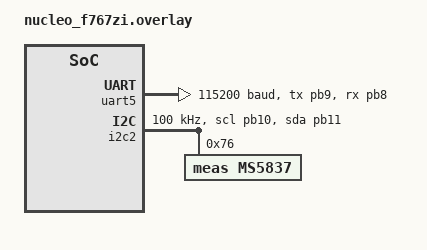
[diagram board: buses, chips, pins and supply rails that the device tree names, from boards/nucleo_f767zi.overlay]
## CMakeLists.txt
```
cmake_minimum_required(VERSION 3.24.3)
find_package(Zephyr REQUIRED HINTS $ENV{ZEPHYR_BASE})
project(maritime-testing)

# if you have an include directory, you can include it here
# target_include_directories(app PRIVATE include)

FILE(GLOB app_sources
     #src/main.c
     # src/uart_poll.c
     # `src/uart_dvl.c
     # src/pressure.c
     src/can_send.c
)

target_sources(app PRIVATE ${app_sources})
```

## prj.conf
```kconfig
CONFIG_UART_STM32=y

CONFIG_RING_BUFFER=y
CONFIG_POLL=y
CONFIG_ADC=y
CONFIG_UART_INTERRUPT_DRIVEN=y

CONFIG_NEWLIB_LIBC=y
CONFIG_NEWLIB_LIBC_FLOAT_PRINTF=y

CONFIG_LOG=y
CONFIG_CBPRINTF_FP_SUPPORT=y

CONFIG_I2C=y
CONFIG_SENSOR=y
CONFIG_CAN=y
```

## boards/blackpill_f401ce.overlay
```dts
/ {
    chosen {
        zephyr,console = &usart2;
        zephyr,shell-uart = &usart2;
    };
};

&usart2 {
    pinctrl-0 = <&usart2_tx_pa2 &usart2_rx_pa3>;
    pinctrl-names = "default";
    current-speed = <115200>;
    status = "okay";
};
```

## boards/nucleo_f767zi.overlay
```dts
/*
/ {
    chosen {
        zephyr,console = &uart5;
        zephyr,shell-uart = &uart5;
    };
};
*/

&uart5 {
    pinctrl-0 = <&uart5_tx_pb9 &uart5_rx_pb8>;
    pinctrl-names = "default";
    current-speed = <115200>;
    status = "okay";
};

&i2c1 {
    status = "disabled";
};

&i2c2 {
    pinctrl-0 = <&i2c2_scl_pb10 &i2c2_sda_pb11>;
    pinctrl-names = "default";
    status = "okay";
    clock-frequency = <I2C_BITRATE_STANDARD>;
    ms5837@76 {
        compatible = "meas,ms5837";
        reg = <0x76>;
    };
};


/*
can1 already enabled, alias zephyr,canbus = &can1;

&can1 {
	pinctrl-0 = <&can1_rx_pd0 &can1_tx_pd1>;
	pinctrl-names = "default";
	bus-speed = <125000>;
	status = "okay";
};
*/
```

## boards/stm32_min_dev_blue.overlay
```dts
/ {
    chosen {
        zephyr,canbus = &can;
    };
};

&can {
	pinctrl-0 = <&can_rx_pa11 &can_tx_pa12>;
	pinctrl-names = "default";
	bus-speed = <125000>;
	status = "okay";
};
```

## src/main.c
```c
/*
 * Copyright (c) 2016 Intel Corporation
 *
 * SPDX-License-Identifier: Apache-2.0
 */

#include <stdio.h>
#include <string.h>
#include <zephyr/kernel.h>
#include <zephyr/drivers/gpio.h>
#include <zephyr/drivers/uart.h>

#define UART5_DEVICE_NODE DT_NODELABEL(uart5)

/* 1000 msec = 1 sec */
#define SLEEP_TIME_MS   1000

/* The devicetree node identifier for the "led0" alias. */
#define LED0_NODE DT_ALIAS(led0)


/*
 * A build error on this line means your board is unsupported.
 * See the sample documentation for information on how to fix this.
 */
static const struct gpio_dt_spec led = GPIO_DT_SPEC_GET(LED0_NODE, gpios);

static const struct device *uart_device = DEVICE_DT_GET(UART5_DEVICE_NODE);

void print_uart(char *msg) {
    for (int i = 0; i < strlen(msg); ++i)
        uart_poll_out(uart_device, msg[i]);
}

void main(void)
{
	int ret;

	if (!device_is_ready(led.port)) {
		return;
	}

        if (!device_is_ready(uart_device)) {
            printf("UART model not found");
        } else  {
            printf("found UART device");
        }

	printf("DEVICE %s READY!", CONFIG_BOARD);

	ret = gpio_pin_configure_dt(&led, GPIO_OUTPUT_ACTIVE);
	if (ret < 0) {
		return;
	}

	while (1) {
		ret = gpio_pin_toggle_dt(&led);
		if (ret < 0) {
			return;
		}
		printf("Toggling\n");
                print_uart("LGTM!\n");
                k_msleep(SLEEP_TIME_MS);
	}
}
```

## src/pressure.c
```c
#include <zephyr/device.h>
#include <zephyr/drivers/sensor.h>
#include <stdio.h>
#include <zephyr/kernel.h>

#include <zephyr/logging/log.h>
LOG_MODULE_REGISTER(main);

void main(void)
{
	struct sensor_value oversampling_rate = { 8192, 0 };
	const struct device *const dev = DEVICE_DT_GET_ANY(meas_ms5837);

	if (dev == NULL) {
		LOG_ERR("Could not find MS5837 device, aborting test.");
		return;
	}
	if (!device_is_ready(dev)) {
		LOG_ERR("MS5837 device %s is not ready, aborting test.",
			dev->name);
		return;
	}

	if (sensor_attr_set(dev, SENSOR_CHAN_ALL, SENSOR_ATTR_OVERSAMPLING,
				&oversampling_rate) != 0) {
		LOG_ERR("Could not set oversampling rate of %d "
			"on MS5837 device, aborting test.",
			oversampling_rate.val1);
		return;
	}

	while (1) {
		struct sensor_value temp;
		struct sensor_value press;

		sensor_sample_fetch(dev);
		sensor_channel_get(dev, SENSOR_CHAN_AMBIENT_TEMP, &temp);
		sensor_channel_get(dev, SENSOR_CHAN_PRESS, &press);

		printf("Temperature: %d.%06d, Pressure: %d.%06d\n", temp.val1,
		       temp.val2, press.val1, press.val2);

		k_sleep(K_MSEC(10000));
	}
}
```

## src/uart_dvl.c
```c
#include <stdio.h>
#include <string.h>
#include <stdbool.h>
#include <stdint.h>
#include <string.h>
#include <stdlib.h>

#include <zephyr/kernel.h>
#include <zephyr/device.h>
#include <zephyr/drivers/uart.h>
#include <zephyr/sys/ring_buffer.h>
#include <zephyr/logging/log.h>


LOG_MODULE_REGISTER(uart_dvl, LOG_LEVEL_INF);

#define UART5_DEVICE_NODE DT_NODELABEL(uart5)

const struct device *uart_device = DEVICE_DT_GET(UART5_DEVICE_NODE);


// Total bytes the message can store
#define MSG_SZ 512

RING_BUF_DECLARE(ring_buf_tx, MSG_SZ);
RING_BUF_DECLARE(ring_buf_rx, MSG_SZ);

uint8_t buf[MSG_SZ];


// keep track if we've seen the first 'w' byte
bool seen_start = false;

/*
int ring_buf_get_byte(struct ring_buf *buf, uint8_t *byte) {
    uint32_t rb_len = ring_buf_get(buf, byte, 1);
    if (rb_len == 1) {
        return 0;
    } else {
        return -1;
    }
}
*/
void process_velocity() {
    char *token;
    
    // printk("received wrz packet: %s\r\n", buf);

    token = strtok(buf, ",");   // wrz

    token = strtok(NULL, ",");  // velocity x
    float velocity_x = atof(token);

    token = strtok(NULL, ","); // velocity y 
    float velocity_y = atof(token);


    token = strtok(NULL, ","); // velocity z
    float velocity_z = atof(token);

    token = strtok(NULL, ","); // valid
    bool valid = strcmp(token, "y") == 0;
    
    token = strtok(NULL, ","); // altitude
    float altitude = atof(token);

    token = strtok(NULL, ","); // figure of merit

    // covariance matrix
    for (int i = 0; i < 8; ++i) {
        token = strtok(NULL, ";");
    }
    token = strtok(NULL, ",");

    token = strtok(NULL, ","); // time of validity
    
    token = strtok(NULL, ","); // time of transmission
    
    token = strtok(NULL, ","); // time since last report
    float time_ms = atof(token);

    token = strtok(NULL, "*"); // status
    bool status = strcmp(token, "1") == 0;

    token = strtok(NULL, "\0"); // checksum
    uint16_t checksum = strtol(token, NULL, 16);

    LOG_INF("\n\rvelocity x: %f\n\ry:%f\n\rz:%f\n\rvalid: %d\n\raltitude: %f\n\rtime since last: %f\n\rstatus: %d\n\rchecksum: 0x%X\n\r",
            velocity_x, velocity_y, velocity_z, valid, altitude, time_ms, status, checksum);
}


void process_frame() {
    uint8_t rx_byte;
    uint32_t rb_len;

    // Ensure ring buf starts at frame start rx_byte
    while (true) {
        ring_buf_peek(&ring_buf_rx, &rx_byte, 1);
        if (rx_byte != 'w') {
            ring_buf_get(&ring_buf_rx, &rx_byte, 1);
            // printk("misaligned frame, continuing to retrieve data %c\r\n", rx_byte);
            // LOG_INF("Misaligned frame with char %c\r\n", rx_byte);
        } else {
            break;
        }
    }

    // Get ring buf data till frame end byte
    // TODO: implement checksum before continuing processing
    uint32_t len = 0;
    while (true) {
        if (len == MSG_SZ) {
            return;
        }

        ring_buf_get(&ring_buf_rx, &rx_byte, 1);
        if (rx_byte == '\n' || rx_byte == '\r') {
            break;
        }
        *(buf + len) = rx_byte;
        ++len;
    }
    
    buf[len] = 0; // for ending string, can remove
    
    printk("received total frame: %s\r\n", buf);
    if (buf[1] == 'r') {
        if (buf[2] == 'z') {
            process_velocity();
        }
    }
    

}

void uart_tx_msg(char *msg){
    ring_buf_put(&ring_buf_tx, msg, strlen(msg));
    uart_irq_tx_enable(uart_device);
}


void uart_irq_callback(const struct device *dev, void *data) {
    ARG_UNUSED(dev);
    ARG_UNUSED(data);


    while (uart_irq_update(uart_device) && uart_irq_is_pending(uart_device)) {

        if (uart_irq_tx_complete(uart_device) && ring_buf_is_empty(&ring_buf_tx)){
            uart_irq_tx_disable(uart_device);
        }

        uint8_t tx_byte;
        if (uart_irq_tx_ready(uart_device)){
            ring_buf_get(&ring_buf_tx, &tx_byte, 1);
            uart_fifo_fill(uart_device, &tx_byte, 1);
        }

        uint8_t rx_byte;
        if (uart_irq_rx_ready(uart_device)) {
            uart_fifo_read(uart_device, &rx_byte, 1);
            ring_buf_put(&ring_buf_rx, &rx_byte, 1);

            if (rx_byte == 'w') {
                if (seen_start) {
                    printk("See new start byte without previous end byte");
                }
                seen_start = true;
            }
            if ((rx_byte == '\n' || rx_byte == '\r') && seen_start) {
                seen_start = false;
                process_frame();   
            } 

            // echo back byte
            // ring_buf_put(&ring_buf_tx, &rx_byte, 1);
            // uart_irq_tx_enable(uart_device);
        }
    }

}



void main(void) {
    // uart_tx_msg("HELLO WORLD");
    if (!device_is_ready(uart_device)) {
        printk("UART model not found");
        return;
    } else {
        printk("Found UART device");
    }

    uart_irq_rx_enable(uart_device);
    uart_irq_callback_user_data_set(uart_device, uart_irq_callback, NULL);
}
```

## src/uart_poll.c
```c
#include <stdio.h>
#include <string.h>
#include <stdlib.h>

#include <zephyr/kernel.h>
#include <zephyr/drivers/gpio.h>
#include <zephyr/drivers/uart.h>

#define UART5_DEVICE_NODE DT_NODELABEL(uart5)

static const struct device *uart_device = DEVICE_DT_GET(UART5_DEVICE_NODE);

char buf[128];

void uart_tx_msg(char *msg) {
    for (int i = 0; i < strlen(msg); ++i)
        uart_poll_out(uart_device, msg[i]);
}

char uart_rx_next_char() {
    char c;
    while (true) { 
        int ret = uart_poll_in(uart_device, &c);
        if (ret == 0) {
            printf("received: %c == 'r': %d\n", c, (c == 'r'));
            break;
        } else if (ret == -1) {
            // Poling
        } else {
            printf("ERR Polling\n");
        }
    }
    // printf("c again: %c", c);
    // if (c == 'r') printf("c is equal to r\n");
    // printk("received: %c\n", c);
    return c;
}

void uart_rx_read(char *buf, char stop) {
    char data;
    while (1) {
        data = uart_rx_next_char();
        if (data == stop) {
            break;
        }
        *(buf++) = data;
    }
    *buf = '\0';
}

void process_response() {
    printk("processing\n");
    uart_rx_next_char(); // ','

    uart_rx_read(buf, ','); // velocity x
    float vx = atof(buf);

    uart_rx_read(buf, ','); // velocity y
    float vy = atof(buf);

    uart_rx_read(buf, ','); // valid
    float vz = buf[0];

    uart_rx_read(buf, ','); // altitude
    float altitude = atof(buf);

    uart_rx_read(buf, ','); // fom
    float fom = atof(buf);

    // covariance matrix
    for (int i = 0; i < 8; ++i) {
        uart_rx_read(buf, ';');
    }
    
    uart_rx_read(buf, ','); // timestamp
    int timestamp = atoi(buf);

    uart_rx_read(buf, ','); // transmission
    int transmission = atoi(buf);

    uart_rx_read(buf, ','); // time since last read
    float time = atof(buf);

    char status = uart_rx_next_char(); // status

    // checksum
    uart_rx_next_char(); // *
    uart_rx_next_char(); // x
    uart_rx_next_char(); // x

    printf("vx: {%f}, vy: {%f}, vz: {%f}, alt: {%f}, time: {%f}",
            vx, 
            vy, 
            vz, 
            altitude,
            time);

}


void main(void){
    printk("DEVICE %s READY!", CONFIG_BOARD);

    printk("testing\n");
    k_msleep(1000);

    if (!device_is_ready(uart_device)) {
        printk("UART model not found\n");
    } else  {
        printk("found UART device\n");
    }

    k_msleep(1000);

    printk("got here?\n");
    while (1) {
        if (uart_rx_next_char() == 'r' && uart_rx_next_char() == 'w' && uart_rx_next_char() == 'z') {
            printf("cool, proccessing\n");
        }
        /*
        char byte;
        if (uart_poll_in(uart_device, &byte) == 0) {
            printk("rec: %c\n", byte);
            if (byte == 'w') {
                // process_response();
            }
        }
        */
    }
}
```
